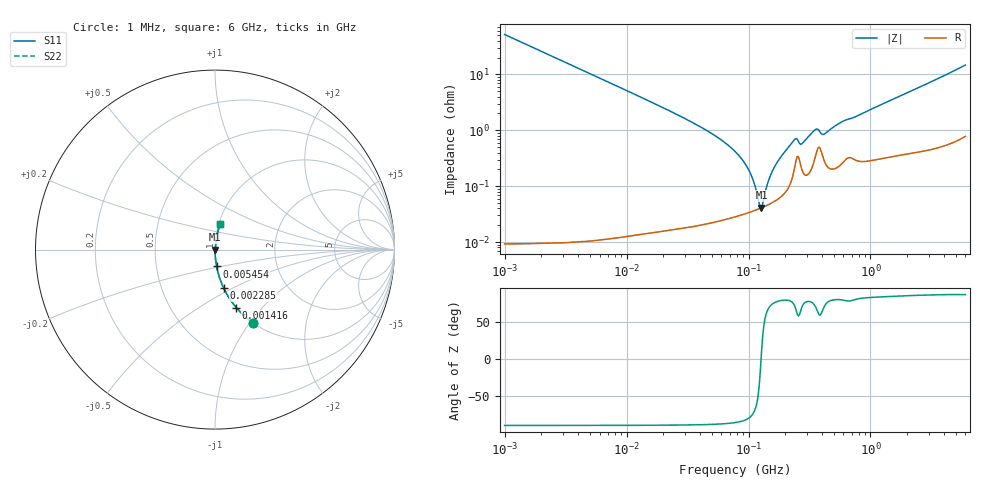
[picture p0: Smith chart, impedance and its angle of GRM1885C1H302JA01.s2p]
!Murata Part Number: GRM1885C1H302JA01
!These Parameters are Measured in Series Mode Connection
!Data Generated on Mar 30, 2021
!  o--ll--o
!Port1  Port2
!  o------o
!Operation Temp=25[degC], DC Bias Voltage=0[V]
!Freq. Start=1000[kHz] Stop=6[GHz] 401[Steps]
# Hz S RI R 50
!Freq.(Hz) S11(Real) S11(Imag) S21(Real) S21(Imag) S12(Real) S12(Imag) S22(Real) S22(Imag)
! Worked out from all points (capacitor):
!   401 points, 1 MHz to 6 GHz, reference 50 ohm
!   read as one part in series: C = 3.07 nF near 1.044 MHz
!   lowest |Z| = 41.5 mohm at 127.7 MHz (marker M1)
!   series resonance near 126.7 MHz, so ESL is about 510 pH
!   S11 on the Smith chart (normalised r, x): 1 MHz: 1.00, -1.04; 1.416 MHz: 1.00, -0.73; 2.285 MHz: 1.00, -0.45; 5.454 MHz: 1.00, -0.19; 6 GHz: 1.02, +0.29
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1000000  0.2119 -0.4085  0.7881 0.4085  0.7881 0.4085  0.2119 -0.4085
1416205  0.1182 -0.3227  0.8818 0.3227  0.8818 0.3227  0.1182 -0.3227
2285201  0.049 -0.2156  0.951 0.2156  0.951 0.2156  0.049 -0.2156
4293785  0.0144 -0.1188  0.9856 0.1188  0.9856 0.1188  0.0144 -0.1188
5454306  0.00902 -0.094  0.991 0.094  0.991 0.094  0.00902 -0.094
1.843659e7  0.000907 -0.0275  0.9991 0.0275  0.9991 0.0275  0.000907 -0.0275
4.596069e7  0.000307 -0.00976  0.9997 0.00976  0.9997 0.00976  0.000307 -0.00976
7.745967e7  0.000299 -0.00418  0.9997 0.00418  0.9997 0.00418  0.000299 -0.00418
1.005588e8  0.00034 -0.00191  0.9997 0.00191  0.9997 0.00191  0.00034 -0.00191
1.096987e8  0.000361 -0.00119  0.9996 0.00119  0.9996 0.00119  0.000361 -0.00119
1.223006e8  0.000394 -0.000293  0.9996 0.000293  0.9996 0.000293  0.000394 -0.000293
1.277378e8  0.00041 6.47e-05  0.9996 -6.47e-05  0.9996 -6.47e-05  0.00041 6.47e-05
1.520136e8  0.000492 0.00152  0.9995 -0.00152  0.9995 -0.00152  0.000492 0.00152
1.809028e8  0.000633 0.0031  0.9994 -0.0031  0.9994 -0.0031  0.000633 0.0031
2.348496e8  0.00184 0.00627  0.9982 -0.00627  0.9982 -0.00627  0.00184 0.00627
2.734687e8  0.00202 0.00534  0.998 -0.00534  0.998 -0.00534  0.00202 0.00534
3.325952e8  0.00226 0.00879  0.9977 -0.00879  0.9977 -0.00879  0.00226 0.00879
3.628252e8  0.00428 0.0096  0.9957 -0.0096  0.9957 -0.0096  0.00428 0.0096
4.224887e8  0.00273 0.00822  0.9973 -0.00822  0.9973 -0.00822  0.00273 0.00822
5.854581e8  0.00275 0.014  0.9973 -0.014  0.9973 -0.014  0.00275 0.014
1.428092e9  0.0044 0.0332  0.9956 -0.0332  0.9956 -0.0332  0.0044 0.0332
6e9  0.0284 0.1416  0.9716 -0.1416  0.9716 -0.1416  0.0284 0.1416
